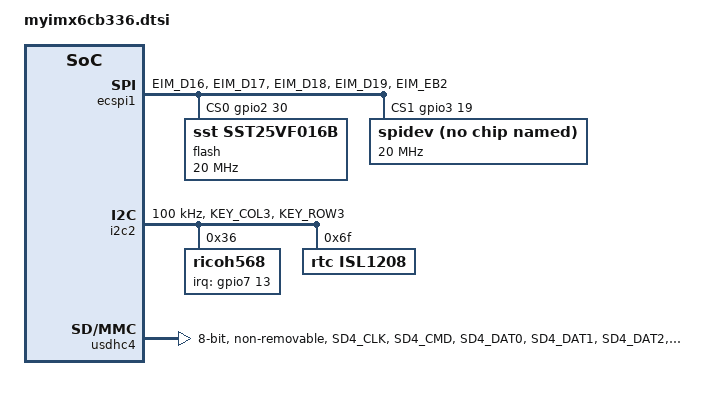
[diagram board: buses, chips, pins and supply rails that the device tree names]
/*
 * MYZR Technology Co.,Ltd
 * http://www.myzr.com.cn
 * Tang Bin <tangb@myzr.com.cn>
 */

&ecspi1 {
	fsl,spi-num-chipselects = <2>;
	cs-gpios = <&gpio2 30 0>, <&gpio3 19 0>;
	pinctrl-names = "default";
	pinctrl-0 = <&pinctrl_spi1>;
	status = "okay";

	flash: m25p80@0 {
		#address-cells = <1>;
		#size-cells = <1>;
		compatible = "sst,sst25vf016b";
		spi-max-frequency = <20000000>;
		reg = <0>;
	};
	
	spidev@1 {
		compatible = "spidev";
		spi-max-frequency = <20000000>;
		reg = <1>;
	};
};

&i2c2 {
	clock-frequency = <100000>;
	pinctrl-names = "default";
	pinctrl-0 = <&pinctrl_i2c2>;
	status = "okay";
	
	/* PMIC */
	ricoh568: ricoh568@36{
		reg = <0x36>;
		interrupt-parent = <&gpio7>;
		interrupts = <13 0>;
		status = "okay";
	};

	isl1208@6f {
		compatible = "rtc,isl1208";
		reg = <0x6f>;
	};
};

&usdhc4 {
	pinctrl-names = "default";
	pinctrl-0 = <&pinctrl_sd4>;
	bus-width = <8>;
	non-removable;
	no-1-8-v;
	keep-power-in-suspend;
	status = "okay";
};

&iomuxc {
	myimx6cb336 {
		pinctrl_spi1: spi1grp {
			fsl,pins = <
				MX6QDL_PAD_EIM_D16__ECSPI1_SCLK		0x100b1
				MX6QDL_PAD_EIM_D17__ECSPI1_MISO		0x100b1
				MX6QDL_PAD_EIM_D18__ECSPI1_MOSI		0x100b1
				/* SPI1_CS1 */
				MX6QDL_PAD_EIM_D19__GPIO3_IO19		0x80000000
				/* SPI1_CS0: SPI Flash */
				MX6QDL_PAD_EIM_EB2__GPIO2_IO30		0x80000000
			>;
		};
		
		pinctrl_sd4: sd4grp {
			fsl,pins = <
				MX6QDL_PAD_SD4_CLK__SD4_CLK			0x10059
				MX6QDL_PAD_SD4_CMD__SD4_CMD			0x17059
				MX6QDL_PAD_SD4_DAT0__SD4_DATA0		0x17059
				MX6QDL_PAD_SD4_DAT1__SD4_DATA1		0x17059
				MX6QDL_PAD_SD4_DAT2__SD4_DATA2		0x17059
				MX6QDL_PAD_SD4_DAT3__SD4_DATA3		0x17059
				MX6QDL_PAD_SD4_DAT4__SD4_DATA4		0x17059
				MX6QDL_PAD_SD4_DAT5__SD4_DATA5		0x17059
				MX6QDL_PAD_SD4_DAT6__SD4_DATA6		0x17059
				MX6QDL_PAD_SD4_DAT7__SD4_DATA7		0x17059
			>;
		};
		
		pinctrl_i2c2: i2c2grp {
			fsl,pins = <
				MX6QDL_PAD_KEY_COL3__I2C2_SCL		0x4001b8b1
				MX6QDL_PAD_KEY_ROW3__I2C2_SDA		0x4001b8b1
			>;
		};
		
		pinctrl_pmic: pmicgrp {
			fsl,pins = <
				/* RT568,GPIO2: PSHOLD_PMU */
				MX6QDL_PAD_GPIO_17__GPIO7_IO12		0x80000000
				/* RT568,INTB: INT_PMU */
				MX6QDL_PAD_GPIO_18__GPIO7_IO13		0x80000000
			>;
		};
		
		pinctrl_rtc: rtcgrp {
			fsl,pins = <
				/* ISL1208: nRQ/FOUT */
				MX6QDL_PAD_GPIO_16__GPIO7_IO11		0x80000000
			>;
		};
	};
};
